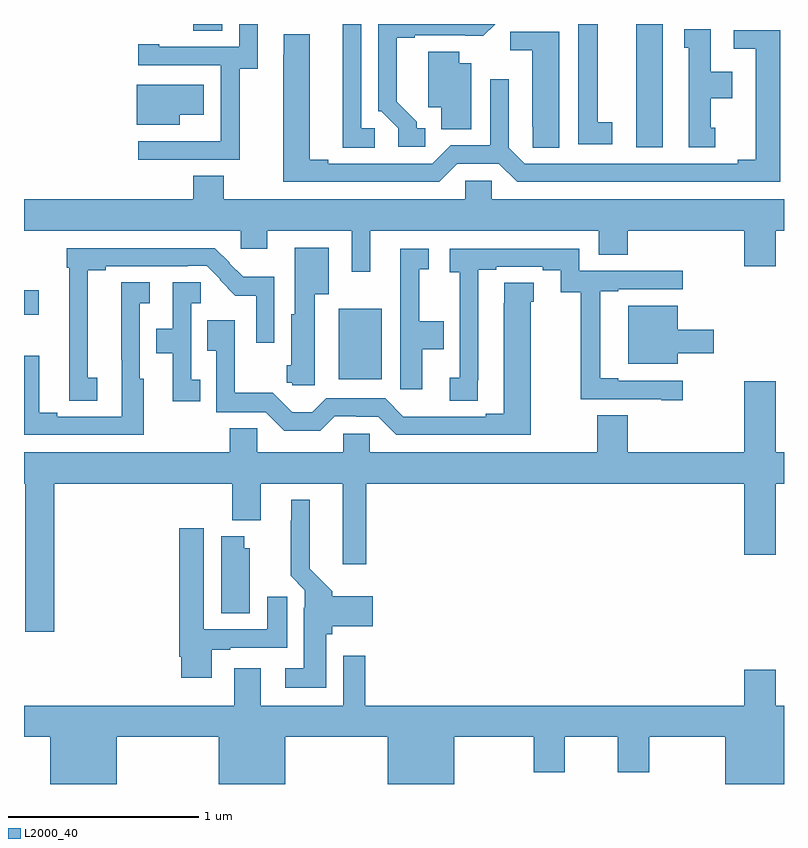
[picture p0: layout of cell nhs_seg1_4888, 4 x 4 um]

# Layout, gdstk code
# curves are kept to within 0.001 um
import gdstk
lib = gdstk.Library(unit=1e-6, precision=1e-09)
def R(c, l, rs):  # rectangles x0, y0, x1, y1
    for r in rs: c.add(gdstk.rectangle(r[:2], r[2:], *l))
def P(c, l, *ps):  # polygons
    for p in ps: c.add(gdstk.Polygon(p, *l))
L2000_40 = (2000, 40)

nhs_seg1_4888 = lib.new_cell('nhs_seg1_4888')
R(nhs_seg1_4888, L2000_40, [(378.656,504.329,378.883,504.7), (377,504.668,377.077,504.798), (380.222,505.551,380.362,506.199), (377.891,506.164,378.043,506.199)])
P(nhs_seg1_4888, L2000_40, [(378.135,505.963),(378.229,505.963),(378.229,506.199),(378.132,506.199),(378.132,506.079),(377.713,506.079),(377.713,506.092),(377.601,506.092),(377.601,505.983),(378.036,505.983),(378.036,505.582),(378.035,505.582),(378.035,505.581),(377.601,505.581),(377.601,505.485),(378.135,505.485)],
  [(378.847,505.65),(378.774,505.65),(378.774,506.199),(378.677,506.199),(378.677,505.549),(378.847,505.549)],
  [(379.111,505.65),(379.066,505.65),(379.066,505.685),(378.961,505.79),(378.961,506.127),(379.057,506.127),(379.057,506.139),(379.418,506.138),(379.479,506.199),(378.864,506.199),(378.864,505.74),(378.879,505.74),(378.969,505.65),(378.969,505.554),(379.111,505.554)],
  [(380.095,505.682),(380.02,505.682),(380.02,506.199),(379.916,506.199),(379.916,505.566),(380.095,505.566)],
  [(380.638,505.653),(380.614,505.653),(380.614,505.808),(380.728,505.808),(380.728,505.948),(380.614,505.948),(380.614,506.171),(380.474,506.171),(380.474,506.073),(380.498,506.073),(380.498,505.551),(380.638,505.551)],
  [(379.281,505.464),(379.499,505.464),(379.595,505.368),(380.98,505.368),(380.98,506.166),(380.736,506.166),(380.736,506.07),(380.852,506.07),(380.852,505.484),(380.756,505.484),(380.756,505.464),(379.635,505.464),(379.551,505.548),(379.551,505.909),(379.455,505.909),(379.455,505.56),(379.245,505.56),(379.149,505.464),(378.601,505.464),(378.601,505.484),(378.505,505.484),(378.505,506.144),(378.366,506.144),(378.365,505.368),(379.185,505.368)],
  [(379.816,506.157),(379.56,506.157),(379.56,506.06),(379.676,506.06),(379.676,505.657),(379.677,505.657),(379.677,505.549),(379.816,505.549)],
  [(379.354,505.993),(379.291,505.993),(379.291,506.054),(379.127,506.054),(379.127,505.76),(379.196,505.76),(379.196,505.645),(379.354,505.645)],
  [(377.821,505.721),(377.947,505.721),(377.947,505.879),(377.594,505.879),(377.594,505.67),(377.821,505.67)],
  [(378.823,505.112),(380.024,505.112),(380.024,504.985),(380.177,504.985),(380.177,505.112),(380.792,505.112),(380.792,504.924),(380.956,504.924),(380.956,505.112),(381,505.112),(381,505.276),(379.461,505.276),(379.461,505.374),(379.323,505.374),(379.323,505.276),(378.051,505.276),(378.051,505.4),(377.891,505.4),(377.891,505.276),(377,505.276),(377,505.112),(378.141,505.112),(378.141,505.017),(378.28,505.017),(378.28,505.112),(378.726,505.112),(378.726,504.894),(378.823,504.894)],
  [(378.529,504.776),(378.604,504.776),(378.604,505.021),(378.426,505.021),(378.426,504.672),(378.407,504.672),(378.407,504.402),(378.383,504.402),(378.383,504.312),(378.411,504.312),(378.411,504.297),(378.529,504.297)],
  [(377.386,504.336),(377.336,504.336),(377.336,504.904),(377.431,504.904),(377.431,504.924),(377.861,504.924),(377.861,504.927),(377.961,504.927),(378.033,504.855),(378.03,504.852),(378.113,504.77),(378.222,504.77),(378.222,504.522),(378.318,504.522),(378.318,504.868),(378.153,504.868),(378.08,504.941),(378.082,504.943),(378.004,505.02),(377.226,505.02),(377.226,504.917),(377.237,504.917),(377.237,504.217),(377.386,504.217)],
  [(379.389,504.325),(379.39,504.325),(379.39,504.906),(379.486,504.906),(379.486,504.921),(379.73,504.921),(379.73,504.903),(379.826,504.903),(379.826,504.788),(379.93,504.788),(379.93,504.225),(380.354,504.225),(380.354,504.22),(380.467,504.22),(380.467,504.321),(380.128,504.321),(380.128,504.334),(380.032,504.334),(380.032,504.792),(380.128,504.792),(380.128,504.804),(380.467,504.804),(380.467,504.9),(379.923,504.9),(379.923,505.017),(379.242,505.017),(379.242,504.893),(379.293,504.893),(379.293,504.336),(379.242,504.336),(379.242,504.217),(379.389,504.217)],
  [(379.096,504.487),(379.208,504.487),(379.208,504.634),(379.079,504.634),(379.079,504.909),(379.129,504.909),(379.129,505.015),(378.98,505.015),(378.98,504.276),(379.096,504.276)],
  [(377.629,504.333),(377.61,504.333),(377.61,504.728),(377.662,504.728),(377.662,504.839),(377.513,504.839),(377.513,504.433),(377.514,504.433),(377.514,504.132),(377.176,504.132),(377.176,504.152),(377.08,504.152),(377.08,504.453),(377,504.453),(377,504.036),(377.629,504.036)],
  [(377.927,504.326),(377.88,504.326),(377.88,504.728),(377.929,504.728),(377.929,504.839),(377.784,504.839),(377.784,504.595),(377.695,504.595),(377.695,504.466),(377.783,504.466),(377.783,504.213),(377.927,504.213)],
  [(379.666,504.738),(379.684,504.738),(379.684,504.836),(379.527,504.836),(379.526,504.147),(379.43,504.147),(379.43,504.132),(378.995,504.133),(378.9,504.228),(378.591,504.228),(378.518,504.155),(378.412,504.155),(378.31,504.257),(378.108,504.257),(378.108,504.64),(377.965,504.64),(377.965,504.479),(378.012,504.479),(378.012,504.156),(378.273,504.156),(378.37,504.059),(378.56,504.059),(378.636,504.135),(378.749,504.135),(378.749,504.132),(378.864,504.132),(378.96,504.036),(379.666,504.036)],
  [(380.44,504.467),(380.629,504.467),(380.629,504.589),(380.44,504.589),(380.44,504.715),(380.18,504.715),(380.18,504.41),(380.44,504.41)],
  [(377.159,503.78),(378.095,503.78),(378.095,503.588),(378.247,503.588),(378.247,503.78),(378.677,503.78),(378.677,503.355),(378.8,503.355),(378.8,503.78),(380.792,503.78),(380.792,503.406),(380.956,503.406),(380.956,503.78),(381,503.78),(381,503.944),(380.956,503.944),(380.956,504.319),(380.792,504.319),(380.792,503.944),(380.177,503.944),(380.177,504.14),(380.017,504.14),(380.017,503.944),(378.819,503.944),(378.819,504.042),(378.681,504.042),(378.681,503.944),(378.228,503.944),(378.228,504.071),(378.082,504.071),(378.082,503.944),(377,503.944),(377,503.78),(377.006,503.78),(377.006,503.001),(377.159,503.001)],
  [(378.592,502.986),(378.623,502.986),(378.623,503.03),(378.835,503.03),(378.835,503.188),(378.623,503.188),(378.623,503.214),(378.505,503.332),(378.505,503.695),(378.407,503.695),(378.407,503.585),(378.403,503.585),(378.403,503.294),(378.477,503.22),(378.477,503.126),(378.473,503.126),(378.473,502.807),(378.375,502.807),(378.375,502.706),(378.592,502.706)],
  [(377.989,502.905),(378.085,502.905),(378.085,502.917),(378.385,502.917),(378.385,503.185),(378.281,503.185),(378.281,503.013),(377.947,503.013),(377.947,503.545),(377.816,503.545),(377.816,502.87),(377.828,502.87),(377.828,502.758),(377.989,502.758)],
  [(378.187,503.439),(378.16,503.439),(378.16,503.503),(378.038,503.503),(378.038,503.098),(378.187,503.098)],
  [(377.488,502.448),(378.026,502.448),(378.026,502.199),(378.376,502.199),(378.376,502.448),(378.914,502.448),(378.914,502.199),(379.264,502.199),(379.264,502.448),(379.682,502.448),(379.682,502.26),(379.846,502.26),(379.846,502.448),(380.126,502.448),(380.126,502.26),(380.29,502.26),(380.29,502.448),(380.69,502.448),(380.69,502.199),(381,502.199),(381,502.612),(380.956,502.612),(380.956,502.801),(380.792,502.801),(380.792,502.612),(378.797,502.612),(378.797,502.873),(378.681,502.873),(378.681,502.612),(378.247,502.612),(378.247,502.807),(378.107,502.807),(378.107,502.612),(377,502.612),(377,502.448),(377.138,502.448),(377.138,502.199),(377.488,502.199)])

lib.write_gds('nhs_seg1_4888.gds')
